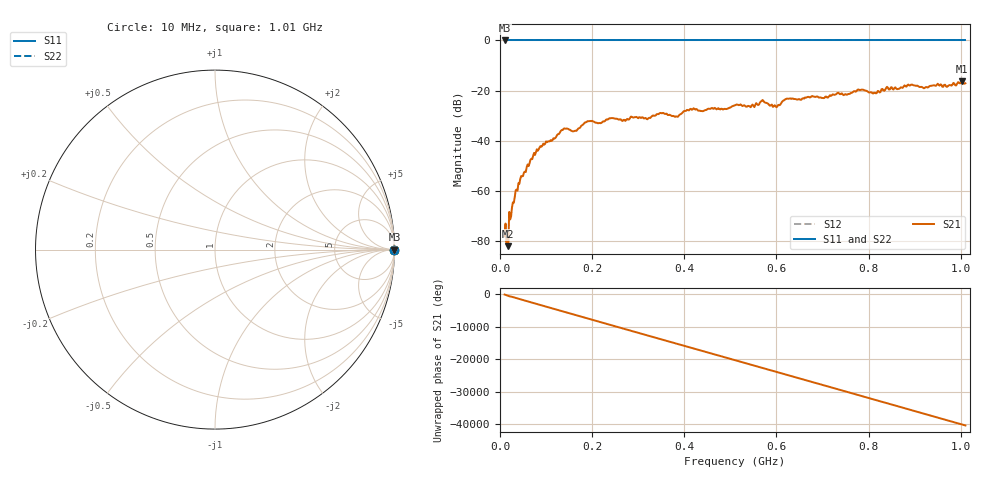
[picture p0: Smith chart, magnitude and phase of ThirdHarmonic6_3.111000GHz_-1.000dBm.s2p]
! 8/17/2025 9:12:26 AM
! C:\ANRITSUVNA\TEMP\TEMP.S2P
! CHANNEL.1
! TR.MEASUREMENT
! RAW.DATA
! RF.CORRECTION.OFF
! AVERAGING.OFF
! IF.BANDWIDTH: 5KHZ
! SWEEPTYPE:  FREQ.SWEEP(Linear)
! Reference Plane Port Info
! PORT:  PORT1  PORT2
! DISTANCE:  0  m  0  m
! TIME:  0  s  0  s
! PHASE.OFFSET:  0  deg.  0  deg.
! LOSS:  0  dB  0  dB
! REF.LOSS:  0  dB  0  dB
! REF.FREQ:  0  Hz  0  Hz
! Power Info
! POWER:  -20  dBm  -20  dBm
! EFF.POWER:  -20  dBm  -20  dBm
! SOURCE.ATTEN:  0  dB  0  dB
! TEST.ATTEN:  0  dB  0  dB
# GHZ S RI R 50.0
! FREQ.GHZ  S11RE  S11IM  S21RE  S21IM  S12RE  S12IM  S22RE  S22IM
!; PortSelection: Port_12
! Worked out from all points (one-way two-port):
!   501 points, 10 MHz to 1.01 GHz, reference 50 ohm
!   highest |S21| = -16.28 dB at 1.002 GHz (marker M1); lowest = -82.1 dB at 18 MHz (marker M2)
!   lowest |S11| = 0.0 dB at 10 MHz (marker M3)
!   |S11| at or under -10 dB: nowhere
!   |S22| runs from 0.0 to 0.0 dB; largest |S21 - S12| = 1.1
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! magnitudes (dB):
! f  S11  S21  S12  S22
! 10 MHz  0.0  -78.2  0.0  0.0
! 14 MHz  0.0  -80.6  0.0  0.0
! 18 MHz  0.0  -82.1  0.0  0.0
! 24 MHz  0.0  -70.3  0.0  0.0
! 38 MHz  0.0  -59.9  0.0  0.0
! 76 MHz  0.0  -45.7  0.0  0.0
! 136 MHz  0.0  -35.8  0.0  0.0
! 162 MHz  0.0  -36.1  0.0  0.0
! 178 MHz  0.0  -33.9  0.0  0.0
! 344 MHz  0.0  -29.4  0.0  0.0
! 382 MHz  0.0  -30.3  0.0  0.0
! 416 MHz  0.0  -27.6  0.0  0.0
! 510 MHz  0.0  -25.9  0.0  0.0
! 548 MHz  0.0  -25.6  0.0  0.0
! 570 MHz  0.0  -23.8  0.0  0.0
! 596 MHz  0.0  -25.8  0.0  0.0
! 622 MHz  0.0  -23.2  0.0  0.0
! 678 MHz  0.0  -22.2  0.0  0.0
! 814 MHz  0.0  -20.9  0.0  0.0
! 844 MHz  0.0  -19.6  0.0  0.0
! 1.002 GHz  0.0  -16.3  0.0  0.0
! 1.01 GHz  0.0  -17.1  0.0  0.0
